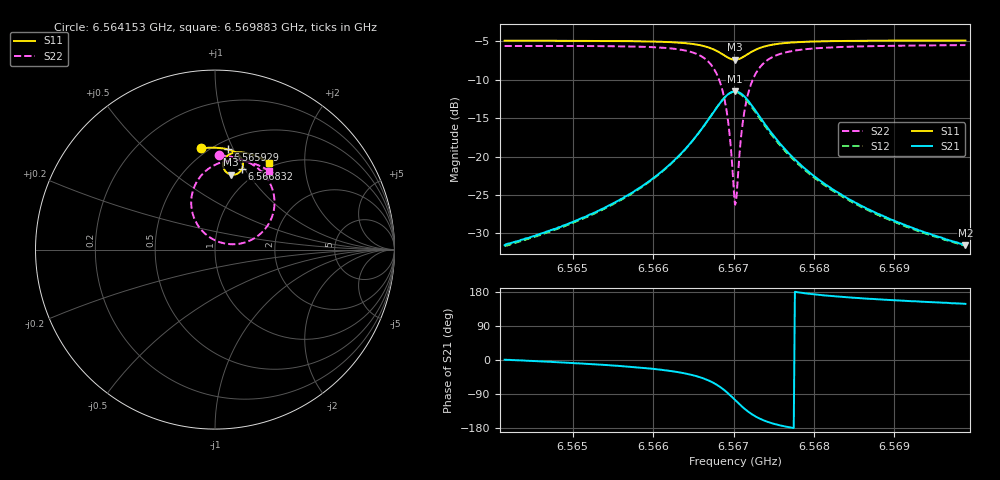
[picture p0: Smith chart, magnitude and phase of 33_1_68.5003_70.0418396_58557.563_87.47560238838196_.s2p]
#  HZ  S  RI  R  50.00
! Rohde & Schwarz Vector Network Analyzer
! Rohde-Schwarz,ZNB20-2Port,1311601062101988,3.16
! Created: UTC 3/20/2024, 5:05:09 PM
! freq[Hz]  re:S11  im:S11  re:S21  im:S21  re:S12  im:S12  re:S22  im:S22
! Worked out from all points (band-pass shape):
!   401 points, 6.564153 GHz to 6.569883 GHz, reference 50 ohm
!   highest |S21| = -11.50 dB at 6.567018 GHz (marker M1); lowest = -31.6 dB at 6.569883 GHz (marker M2)
!   |S21| within 3 dB of the highest: 6.566732 GHz to 6.567305 GHz (572.4 kHz wide, 0.00872 % of centre)
!   lowest |S11| = -7.4 dB at 6.567018 GHz (marker M3), VSWR 2.49, Z = 40.6 + j41.6 ohm
!   |S11| at or under -10 dB: nowhere
!   |S22| runs from -26.3 to -5.5 dB; largest |S21 - S12| = 0.012
!   S11 on the Smith chart (normalised r, x): 6.564153 GHz: 0.46, +0.76; 6.565929 GHz: 0.58, +0.95; 6.566832 GHz: 0.84, +0.97; 6.569883 GHz: 0.93, +1.34
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6.5641529e9  -0.0785 0.5635  0.0264 0.000336  0.0261 -7.8e-05  0.0205 0.5247
6.5651126e9  -0.000745 0.5679  0.0393 -0.00635  0.0385 -0.00693  0.1088 0.5136
6.5659292e9  0.0732 0.5581  0.0629 -0.0253  0.0619 -0.026  0.2081 0.4744
6.5660724e9  0.0879 0.5534  0.0701 -0.0326  0.0688 -0.0335  0.2308 0.459
6.5663732e9  0.1214 0.5364  0.0891 -0.0611  0.0877 -0.0624  0.2863 0.4027
6.5665881e9  0.1459 0.5105  0.1027 -0.1058  0.1006 -0.1079  0.3255 0.3165
6.5667314e9  0.1562 0.4796  0.0989 -0.16  0.0952 -0.1626  0.3264 0.2133
6.5668316e9  0.1508 0.4501  0.0728 -0.2107  0.0662 -0.2135  0.2812 0.1178
6.5669176e9  0.1301 0.426  0.0205 -0.2501  0.011 -0.2508  0.1864 0.0466
6.5669462e9  0.1195 0.4206  -0.00337 -0.2581  -0.0137 -0.2571  0.143 0.0338
6.5670035e9  0.095 0.4174  -0.0567 -0.2595  -0.0675 -0.255  0.0481 0.0354
6.5670179e9  0.0887 0.4182  -0.0702 -0.2567  -0.0807 -0.2512  0.0248 0.0416
6.5670465e9  0.0767 0.4223  -0.0958 -0.2468  -0.1055 -0.2396  -0.0189 0.0619
6.5671038e9  0.0571 0.4374  -0.1376 -0.2148  -0.1442 -0.2051  -0.087 0.1232
6.5671468e9  0.0485 0.4522  -0.1577 -0.1846  -0.162 -0.1744  -0.1173 0.1783
6.5672041e9  0.0444 0.4727  -0.1705 -0.1442  -0.1718 -0.1345  -0.1324 0.25
6.5672757e9  0.0484 0.4948  -0.1704 -0.1013  -0.1693 -0.0929  -0.124 0.3248
6.5675336e9  0.0875 0.5342  -0.1276 -0.0217  -0.1248 -0.0184  -0.0273 0.4565
6.5679776e9  0.146 0.5422  -0.0758 0.00824  -0.0741 0.00925  0.094 0.4969
6.568436e9  0.1911 0.5339  -0.0509 0.0135  -0.0499 0.0141  0.1668 0.4922
6.5689374e9  0.2329 0.5195  -0.0365 0.0144  -0.0357 0.0147  0.2232 0.4768
6.5698829e9  0.3014 0.4848  -0.0224 0.0139  -0.022 0.0141  0.3026 0.4381
